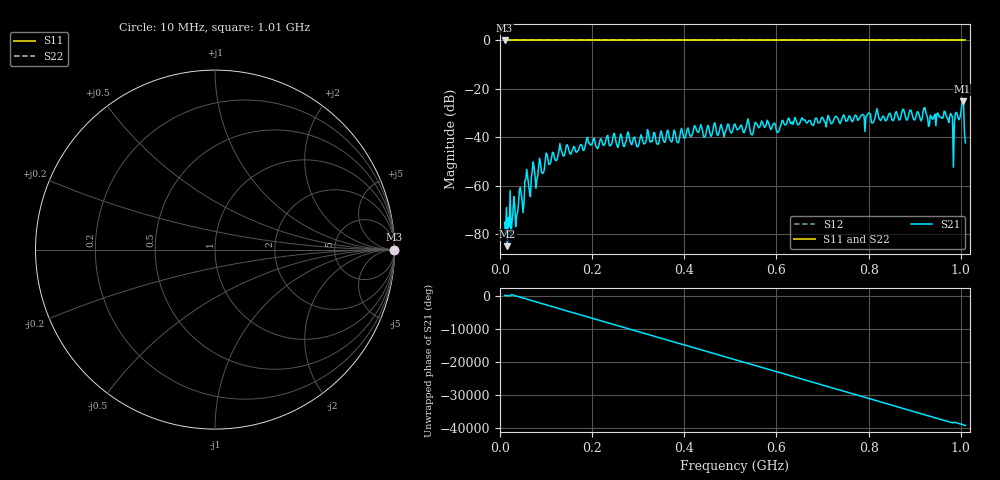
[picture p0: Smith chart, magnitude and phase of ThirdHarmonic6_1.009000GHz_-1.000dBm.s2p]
! 8/16/2025 8:17:02 AM
! C:\ANRITSUVNA\TEMP\TEMP.S2P
! CHANNEL.1
! TR.MEASUREMENT
! RAW.DATA
! RF.CORRECTION.OFF
! AVERAGING.OFF
! IF.BANDWIDTH: 5KHZ
! SWEEPTYPE:  FREQ.SWEEP(Linear)
! Reference Plane Port Info
! PORT:  PORT1  PORT2
! DISTANCE:  0  m  0  m
! TIME:  0  s  0  s
! PHASE.OFFSET:  0  deg.  0  deg.
! LOSS:  0  dB  0  dB
! REF.LOSS:  0  dB  0  dB
! REF.FREQ:  0  Hz  0  Hz
! Power Info
! POWER:  -20  dBm  -20  dBm
! EFF.POWER:  -20  dBm  -20  dBm
! SOURCE.ATTEN:  0  dB  0  dB
! TEST.ATTEN:  0  dB  0  dB
# GHZ S RI R 50.0
! FREQ.GHZ  S11RE  S11IM  S21RE  S21IM  S12RE  S12IM  S22RE  S22IM
!; PortSelection: Port_12
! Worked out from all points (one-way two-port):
!   501 points, 10 MHz to 1.01 GHz, reference 50 ohm
!   highest |S21| = -25.09 dB at 1.004 GHz (marker M1); lowest = -84.9 dB at 16 MHz (marker M2)
!   lowest |S11| = 0.0 dB at 10 MHz (marker M3)
!   |S11| at or under -10 dB: nowhere
!   |S22| runs from 0.0 to 0.0 dB; largest |S21 - S12| = 1
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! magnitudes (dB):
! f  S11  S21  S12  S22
! 10 MHz  0.0  -75.1  0.0  0.0
! 16 MHz  0.0  -84.9  0.0  0.0
! 18 MHz  0.0  -73.2  0.0  0.0
! 36 MHz  0.0  -72.5  0.0  0.0
! 44 MHz  0.0  -60.7  0.0  0.0
! 50 MHz  0.0  -71.1  0.0  0.0
! 58 MHz  0.0  -53.1  0.0  0.0
! 66 MHz  0.0  -64.5  0.0  0.0
! 72 MHz  0.0  -50.1  0.0  0.0
! 80 MHz  0.0  -57.6  0.0  0.0
! 102 MHz  0.0  -47.0  0.0  0.0
! 178 MHz  0.0  -43.5  0.0  0.0
! 248 MHz  0.0  -38.3  0.0  0.0
! 344 MHz  0.0  -42.7  0.0  0.0
! 510 MHz  0.0  -34.5  0.0  0.0
! 546 MHz  0.0  -38.9  0.0  0.0
! 678 MHz  0.0  -34.7  0.0  0.0
! 844 MHz  0.0  -30.3  0.0  0.0
! 966 MHz  0.0  -29.5  0.0  0.0
! 984 MHz  0.0  -52.3  0.0  0.0
! 1.004 GHz  0.0  -25.1  0.0  0.0
! 1.01 GHz  0.0  -42.3  0.0  0.0
